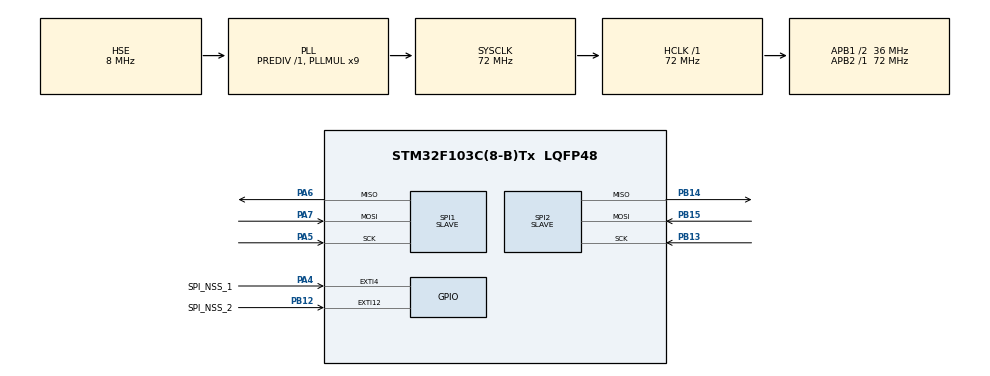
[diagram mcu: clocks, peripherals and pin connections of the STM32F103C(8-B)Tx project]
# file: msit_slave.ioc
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Mcu.Family=STM32F1
Mcu.Name=STM32F103C(8-B)Tx
Mcu.Package=LQFP48
NVIC.EXTI15_10_IRQn=true\:0\:0\:false\:false\:true\:true\:true\:true
NVIC.EXTI4_IRQn=true\:0\:0\:false\:false\:true\:true\:true\:true
NVIC.PriorityGroup=NVIC_PRIORITYGROUP_4
NVIC.SPI1_IRQn=true\:0\:0\:false\:false\:true\:true\:true\:true
NVIC.SPI2_IRQn=true\:0\:0\:false\:false\:true\:true\:true\:true
PA13.Mode=Serial_Wire
PA13.Signal=SYS_JTMS-SWDIO
PA14.Mode=Serial_Wire
PA14.Signal=SYS_JTCK-SWCLK
PA4.GPIO_Label=SPI_NSS_1
PA4.GPIO_ModeDefaultEXTI=GPIO_MODE_IT_RISING_FALLING
PA4.Signal=GPXTI4
PA5.Mode=Full_Duplex_Slave
PA5.Signal=SPI1_SCK
PA6.Mode=Full_Duplex_Slave
PA6.Signal=SPI1_MISO
PA7.Mode=Full_Duplex_Slave
PA7.Signal=SPI1_MOSI
PB12.GPIO_Label=SPI_NSS_2
PB12.GPIO_ModeDefaultEXTI=GPIO_MODE_IT_RISING_FALLING
PB12.Signal=GPXTI12
PB13.Mode=Full_Duplex_Slave
PB13.Signal=SPI2_SCK
PB14.Mode=Full_Duplex_Slave
PB14.Signal=SPI2_MISO
PB15.Mode=Full_Duplex_Slave
PB15.Signal=SPI2_MOSI
PD0-OSC_IN.Mode=HSE-External-Oscillator
PD0-OSC_IN.Signal=RCC_OSC_IN
PD1-OSC_OUT.Mode=HSE-External-Oscillator
PD1-OSC_OUT.Signal=RCC_OSC_OUT
ProjectManager.HeapSize=0x200
ProjectManager.StackSize=0x400
ProjectManager.TargetToolchain=STM32CubeIDE
RCC.AHBFreq_Value=72000000
RCC.APB1CLKDivider=RCC_HCLK_DIV2
RCC.APB1Freq_Value=36000000
RCC.APB1TimFreq_Value=72000000
RCC.APB2Freq_Value=72000000
RCC.APB2TimFreq_Value=72000000
RCC.HCLKFreq_Value=72000000
RCC.PLLMUL=RCC_PLL_MUL9
RCC.PLLSourceVirtual=RCC_PLLSOURCE_HSE
RCC.SYSCLKFreq_VALUE=72000000
RCC.SYSCLKSource=RCC_SYSCLKSOURCE_PLLCLK
RCC.USBFreq_Value=72000000
SPI1.CRCCalculation=SPI_CRCCALCULATION_ENABLE
SPI1.Direction=SPI_DIRECTION_2LINES
SPI1.Mode=SPI_MODE_SLAVE
SPI1.VirtualType=VM_SLAVE
SPI2.CRCCalculation=SPI_CRCCALCULATION_ENABLE
SPI2.Direction=SPI_DIRECTION_2LINES
SPI2.Mode=SPI_MODE_SLAVE
SPI2.VirtualType=VM_SLAVE
VP_CRC_VS_CRC.Mode=CRC_Activate
board=custom

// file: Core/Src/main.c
/* USER CODE BEGIN Header */
/**
 ******************************************************************************
 * @file           : main.c
 * @brief          : Main program body
 ******************************************************************************
 * @attention
 *
 * Copyright (c) 2023 STMicroelectronics.
 * All rights reserved.
 *
 * This software is licensed under terms that can be found in the LICENSE file
 * in the root directory of this software component.
 * If no LICENSE file comes with this software, it is provided AS-IS.
 *
 ******************************************************************************
 */
/* USER CODE END Header */
#include "main.h"

/* USER CODE BEGIN Includes */
#include "string.h"
#include "stdlib.h"
/* USER CODE END Includes */

CRC_HandleTypeDef hcrc;

SPI_HandleTypeDef hspi1;
SPI_HandleTypeDef hspi2;

/* USER CODE BEGIN PV */
int32_t transmit[6], receive[6];
uint32_t counter;

volatile uint8_t transmitFlag = 0;
volatile uint8_t abortFlag = 0;
/* USER CODE END PV */

void SystemClock_Config(void);
static void MX_GPIO_Init(void);
static void MX_CRC_Init(void);
static void MX_SPI2_Init(void);
static void MX_SPI1_Init(void);

/* USER CODE BEGIN 0 */
void HAL_GPIO_EXTI_Callback(uint16_t GPIO_Pin) {
    if (GPIO_Pin == SPI_NSS_1_Pin) {
        if (HAL_GPIO_ReadPin(SPI_NSS_1_GPIO_Port, SPI_NSS_1_Pin) == GPIO_PIN_RESET) {
            transmitFlag = 1;
            counter++;
        } else {
            abortFlag = 1;
        }
    }
}
/* USER CODE END 0 */

int main(void) {

	/* MCU Configuration--------------------------------------------------------*/

	/* Reset of all peripherals, Initializes the Flash interface and the Systick. */
	HAL_Init();

	/* Configure the system clock */
	SystemClock_Config();

	/* Initialize all configured peripherals */
	MX_GPIO_Init();
	MX_CRC_Init();
	MX_SPI2_Init();
	MX_SPI1_Init();

	/* Infinite loop */
	/* USER CODE BEGIN WHILE */
	while (1) {
		transmit[0] = 1500 + rand() % 150;
		transmit[1] = 15 + rand() % 10;
		transmit[2] = 1;
		transmit[3] = 5000 + rand() % 10;
		transmit[4] = 19 + rand() % 10;
		transmit[5] = 0;

		if (transmitFlag) {
			HAL_SPI_TransmitReceive_IT(&hspi1, (uint8_t*) (transmit),
					(uint8_t*) (receive), 24);
			transmitFlag = 0;
		}

		if (abortFlag) {
			HAL_SPI_Abort_IT(&hspi1);
			abortFlag = 0;
		}
		/* USER CODE END WHILE */

	}
}

void SystemClock_Config(void) {
	RCC_OscInitTypeDef RCC_OscInitStruct = { 0 };
	RCC_ClkInitTypeDef RCC_ClkInitStruct = { 0 };

	/** Initializes the RCC Oscillators according to the specified parameters
	 * in the RCC_OscInitTypeDef structure.
	 */
	RCC_OscInitStruct.OscillatorType = RCC_OSCILLATORTYPE_HSE;
	RCC_OscInitStruct.HSEState = RCC_HSE_ON;
	RCC_OscInitStruct.HSEPredivValue = RCC_HSE_PREDIV_DIV1;
	RCC_OscInitStruct.HSIState = RCC_HSI_ON;
	RCC_OscInitStruct.PLL.PLLState = RCC_PLL_ON;
	RCC_OscInitStruct.PLL.PLLSource = RCC_PLLSOURCE_HSE;
	RCC_OscInitStruct.PLL.PLLMUL = RCC_PLL_MUL9;
	if (HAL_RCC_OscConfig(&RCC_OscInitStruct) != HAL_OK) {
		Error_Handler();
	}

	/** Initializes the CPU, AHB and APB buses clocks
	 */
	RCC_ClkInitStruct.ClockType = RCC_CLOCKTYPE_HCLK | RCC_CLOCKTYPE_SYSCLK
			| RCC_CLOCKTYPE_PCLK1 | RCC_CLOCKTYPE_PCLK2;
	RCC_ClkInitStruct.SYSCLKSource = RCC_SYSCLKSOURCE_PLLCLK;
	RCC_ClkInitStruct.AHBCLKDivider = RCC_SYSCLK_DIV1;
	RCC_ClkInitStruct.APB1CLKDivider = RCC_HCLK_DIV2;
	RCC_ClkInitStruct.APB2CLKDivider = RCC_HCLK_DIV1;

	if (HAL_RCC_ClockConfig(&RCC_ClkInitStruct, FLASH_LATENCY_2) != HAL_OK) {
		Error_Handler();
	}
}

static void MX_CRC_Init(void) {

	hcrc.Instance = CRC;
	if (HAL_CRC_Init(&hcrc) != HAL_OK) {
		Error_Handler();
	}

}

static void MX_SPI1_Init(void) {

	/* SPI1 parameter configuration*/
	hspi1.Instance = SPI1;
	hspi1.Init.Mode = SPI_MODE_SLAVE;
	hspi1.Init.Direction = SPI_DIRECTION_2LINES;
	hspi1.Init.DataSize = SPI_DATASIZE_8BIT;
	hspi1.Init.CLKPolarity = SPI_POLARITY_LOW;
	hspi1.Init.CLKPhase = SPI_PHASE_1EDGE;
	hspi1.Init.NSS = SPI_NSS_SOFT;
	hspi1.Init.FirstBit = SPI_FIRSTBIT_MSB;
	hspi1.Init.TIMode = SPI_TIMODE_DISABLE;
	hspi1.Init.CRCCalculation = SPI_CRCCALCULATION_ENABLE;
	hspi1.Init.CRCPolynomial = 10;
	if (HAL_SPI_Init(&hspi1) != HAL_OK) {
		Error_Handler();
	}

}

static void MX_SPI2_Init(void) {

	/* SPI2 parameter configuration*/
	hspi2.Instance = SPI2;
	hspi2.Init.Mode = SPI_MODE_SLAVE;
	hspi2.Init.Direction = SPI_DIRECTION_2LINES;
	hspi2.Init.DataSize = SPI_DATASIZE_8BIT;
	hspi2.Init.CLKPolarity = SPI_POLARITY_LOW;
	hspi2.Init.CLKPhase = SPI_PHASE_1EDGE;
	hspi2.Init.NSS = SPI_NSS_SOFT;
	hspi2.Init.FirstBit = SPI_FIRSTBIT_MSB;
	hspi2.Init.TIMode = SPI_TIMODE_DISABLE;
	hspi2.Init.CRCCalculation = SPI_CRCCALCULATION_ENABLE;
	hspi2.Init.CRCPolynomial = 10;
	if (HAL_SPI_Init(&hspi2) != HAL_OK) {
		Error_Handler();
	}

}

static void MX_GPIO_Init(void) {
	GPIO_InitTypeDef GPIO_InitStruct = { 0 };

	/* GPIO Ports Clock Enable */
	__HAL_RCC_GPIOD_CLK_ENABLE();
	__HAL_RCC_GPIOA_CLK_ENABLE();
	__HAL_RCC_GPIOB_CLK_ENABLE();

	/*Configure GPIO pin : SPI_NSS_1_Pin */
	GPIO_InitStruct.Pin = SPI_NSS_1_Pin;
	GPIO_InitStruct.Mode = GPIO_MODE_IT_RISING_FALLING;
	GPIO_InitStruct.Pull = GPIO_NOPULL;
	HAL_GPIO_Init(SPI_NSS_1_GPIO_Port, &GPIO_InitStruct);

	/*Configure GPIO pin : SPI_NSS_2_Pin */
	GPIO_InitStruct.Pin = SPI_NSS_2_Pin;
	GPIO_InitStruct.Mode = GPIO_MODE_IT_RISING_FALLING;
	GPIO_InitStruct.Pull = GPIO_NOPULL;
	HAL_GPIO_Init(SPI_NSS_2_GPIO_Port, &GPIO_InitStruct);

	/* EXTI interrupt init*/
	HAL_NVIC_SetPriority(EXTI4_IRQn, 0, 0);
	HAL_NVIC_EnableIRQ(EXTI4_IRQn);

	HAL_NVIC_SetPriority(EXTI15_10_IRQn, 0, 0);
	HAL_NVIC_EnableIRQ(EXTI15_10_IRQn);

}

void Error_Handler(void) {
	__disable_irq();
	while (1) {
	}
}
